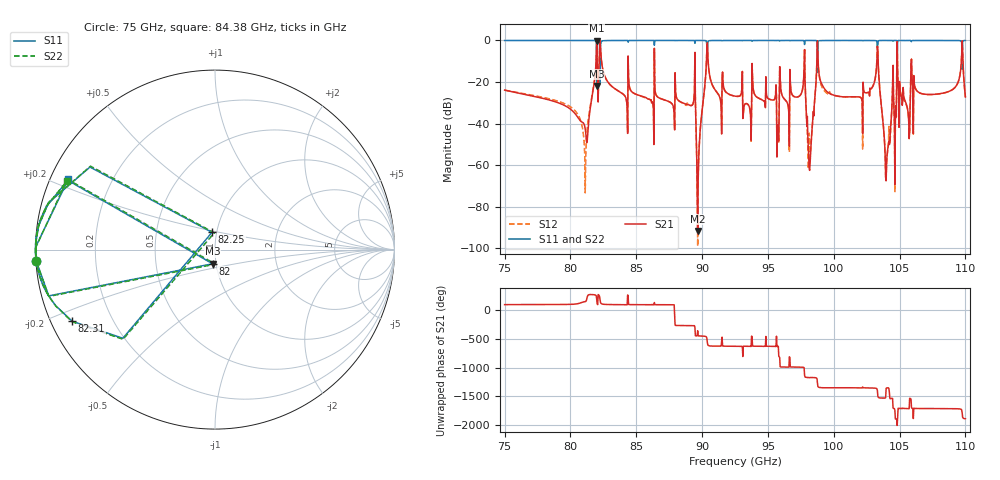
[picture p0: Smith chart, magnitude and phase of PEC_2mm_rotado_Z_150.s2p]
! TOUCHSTONE file generated by CST MICROWAVE STUDIO
! Date and time: Fri Feb 16 17:58:34 2024
! Project name: metal_rotado.cst
! Parameters = {angX=1.5; angY=2}
! Header version: 2018
! Port assignment regex: !\s*Touchstone port\s*([0-9]+)\s*=\s*(CST MWS port|CST DS port)\s*([0-9]+|Zmin|Zmax)\s*\(\"(.*)\"\)(\s*mode\s*([0-9]+))?.*
! Touchstone port assignment:
! Touchstone port 1 = CST MWS port 1 ("")
! Touchstone port 2 = CST MWS port 2 ("")
# GHz S MA R 376.7
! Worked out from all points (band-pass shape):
!   1001 points, 75 GHz to 110 GHz, reference 376.7 ohm
!   highest |S21| = -0.03 dB at 82 GHz (marker M1); lowest = -91.7 dB at 89.67 GHz (marker M2)
!   |S21| within 3 dB of the highest: 81.98582 GHz to 82.00938 GHz (23.56 MHz wide, 0.0287 % of centre); 82.22475 GHz to 82.27926 GHz (54.51 MHz wide, 0.0663 % of centre)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
!   lowest |S11| = -21.9 dB at 82 GHz (marker M3), VSWR 1.17, Z = 362 - j57.7 ohm
!   |S11| at or under -10 dB: 81.9802 GHz to 82.01933 GHz (39.14 MHz wide, 0.0477 % of centre); 82.22583 GHz to 82.26569 GHz (39.86 MHz wide, 0.0485 % of centre); 98.7521 GHz to 98.77793 GHz (25.84 MHz wide, 0.0262 % of centre)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
!   |S22| runs from -21.8 to 0.0 dB; largest |S21 - S12| = 0.055
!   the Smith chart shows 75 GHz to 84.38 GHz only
!   S11 on the Smith chart (normalised r, x): 75 GHz: 0.00, -0.03; 82 GHz: 0.96, -0.15; 82.25 GHz: 0.95, +0.18; 82.31 GHz: 0.06, -0.24; 84.38 GHz: 0.05, +0.23
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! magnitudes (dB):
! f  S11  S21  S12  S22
! 75 GHz  0.0  -23.9  -23.9  0.0
! 80.84 GHz  0.0  -39.2  -40.1  0.0
! 81.19 GHz  0.0  -46.6  -49.9  0.0
! 82 GHz  -21.9  0.0  0.0  -21.8
! 82.25 GHz  -20.2  -0.1  0.0  -20.6
! 82.31 GHz  -1.0  -6.8  -6.9  -1.0
! 84.38 GHz  -0.9  -7.5  -7.6  -0.8
! 86.69 GHz  0.0  -27.5  -27.5  0.0
! 89.31 GHz  0.0  -30.4  -30.4  0.0
! 89.67 GHz  0.0  -91.7  -99.0  0.0
! 90.4 GHz  -6.6  -1.1  -1.1  -6.8
! 92.5 GHz  0.0  -26.8  -26.8  0.0
! 97.68 GHz  0.0  -21.3  -21.3  0.0
! 98.1 GHz  0.0  -56.9  -59.4  0.0
! 98.34 GHz  0.0  -43.4  -43.3  0.0
! 98.83 GHz  -0.2  -12.7  -12.7  -0.2
! 102 GHz  0.0  -27.4  -27.3  0.0
! 103.3 GHz  -0.5  -9.4  -9.4  -0.5
! 103.9 GHz  0.0  -56.0  -56.5  0.0
! 104.2 GHz  0.0  -48.3  -41.4  0.0
! 105 GHz  0.0  -41.8  -41.6  0.0
! 110 GHz  0.0  -27.2  -27.2  0.0
